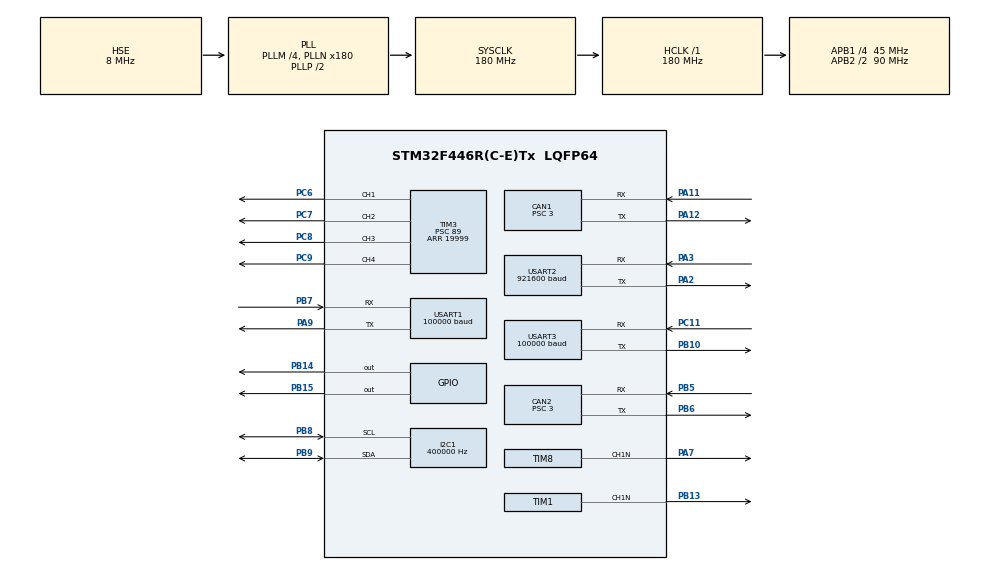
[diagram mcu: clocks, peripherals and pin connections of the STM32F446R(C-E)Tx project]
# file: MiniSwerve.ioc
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CAN1.ABOM=ENABLE
CAN1.BS1=CAN_BS1_12TQ
CAN1.BS2=CAN_BS2_2TQ
CAN1.CalculateBaudRate=1000000
CAN1.CalculateTimeBit=1000
CAN1.CalculateTimeQuantum=66.66666666666666
CAN1.NART=ENABLE
CAN1.Prescaler=3
CAN1.SJW=CAN_SJW_1TQ
CAN2.ABOM=ENABLE
CAN2.BS1=CAN_BS1_12TQ
CAN2.BS2=CAN_BS2_2TQ
CAN2.CalculateBaudRate=1000000
CAN2.CalculateTimeBit=1000
CAN2.CalculateTimeQuantum=66.66666666666666
CAN2.NART=ENABLE
CAN2.Prescaler=3
CAN2.SJW=CAN_SJW_1TQ
Dma.Request0=USART1_RX
Dma.Request1=USART3_RX
Dma.Request2=TIM8_CH1
Dma.TIM8_CH1.2.Direction=DMA_MEMORY_TO_PERIPH
Dma.TIM8_CH1.2.FIFOMode=DMA_FIFOMODE_DISABLE
Dma.TIM8_CH1.2.Instance=DMA2_Stream2
Dma.TIM8_CH1.2.MemDataAlignment=DMA_MDATAALIGN_WORD
Dma.TIM8_CH1.2.MemInc=DMA_MINC_ENABLE
Dma.TIM8_CH1.2.Mode=DMA_CIRCULAR
Dma.TIM8_CH1.2.PeriphDataAlignment=DMA_PDATAALIGN_WORD
Dma.TIM8_CH1.2.PeriphInc=DMA_PINC_DISABLE
Dma.TIM8_CH1.2.Priority=DMA_PRIORITY_LOW
Dma.USART1_RX.0.Direction=DMA_PERIPH_TO_MEMORY
Dma.USART1_RX.0.FIFOMode=DMA_FIFOMODE_DISABLE
Dma.USART1_RX.0.Instance=DMA2_Stream5
Dma.USART1_RX.0.MemDataAlignment=DMA_MDATAALIGN_BYTE
Dma.USART1_RX.0.MemInc=DMA_MINC_ENABLE
Dma.USART1_RX.0.Mode=DMA_CIRCULAR
Dma.USART1_RX.0.PeriphDataAlignment=DMA_PDATAALIGN_BYTE
Dma.USART1_RX.0.PeriphInc=DMA_PINC_DISABLE
Dma.USART1_RX.0.Priority=DMA_PRIORITY_VERY_HIGH
Dma.USART3_RX.1.Direction=DMA_PERIPH_TO_MEMORY
Dma.USART3_RX.1.FIFOMode=DMA_FIFOMODE_DISABLE
Dma.USART3_RX.1.Instance=DMA1_Stream1
Dma.USART3_RX.1.MemDataAlignment=DMA_MDATAALIGN_BYTE
Dma.USART3_RX.1.MemInc=DMA_MINC_ENABLE
Dma.USART3_RX.1.Mode=DMA_CIRCULAR
Dma.USART3_RX.1.PeriphDataAlignment=DMA_PDATAALIGN_BYTE
Dma.USART3_RX.1.PeriphInc=DMA_PINC_DISABLE
Dma.USART3_RX.1.Priority=DMA_PRIORITY_VERY_HIGH
I2C1.ClockSpeed=400000
I2C1.I2C_Mode=I2C_Fast
Mcu.Family=STM32F4
Mcu.Name=STM32F446R(C-E)Tx
Mcu.Package=LQFP64
NVIC.DMA1_Stream1_IRQn=true\:0\:0\:false\:false\:true\:false\:true\:true
NVIC.DMA2_Stream2_IRQn=true\:0\:0\:false\:false\:true\:false\:true\:true
NVIC.DMA2_Stream5_IRQn=true\:0\:0\:false\:false\:true\:false\:true\:true
NVIC.PriorityGroup=NVIC_PRIORITYGROUP_4
NVIC.TIM1_UP_TIM10_IRQn=true\:0\:0\:false\:false\:true\:true\:true\:true
NVIC.USART2_IRQn=true\:0\:0\:false\:false\:true\:true\:true\:true
PA11.Mode=CAN_Activate
PA11.Signal=CAN1_RX
PA12.Mode=CAN_Activate
PA12.Signal=CAN1_TX
PA2.Mode=Asynchronous
PA2.Signal=USART2_TX
PA3.Mode=Asynchronous
PA3.Signal=USART2_RX
PA7.Mode=PWM Generation1 CH1N
PA7.Signal=TIM8_CH1N
PA9.Mode=Asynchronous
PA9.Signal=USART1_TX
PB10.Mode=Asynchronous
PB10.Signal=USART3_TX
PB13.Mode=PWM Generation1 CH1N
PB13.Signal=TIM1_CH1N
PB14.Signal=GPIO_Output
PB15.Signal=GPIO_Output
PB5.Mode=CAN_Activate
PB5.Signal=CAN2_RX
PB6.Mode=CAN_Activate
PB6.Signal=CAN2_TX
PB7.Mode=Asynchronous
PB7.Signal=USART1_RX
PB8.Mode=I2C
PB8.Signal=I2C1_SCL
PB9.Mode=I2C
PB9.Signal=I2C1_SDA
PC11.Mode=Asynchronous
PC11.Signal=USART3_RX
PC6.Signal=S_TIM3_CH1
PC7.Signal=S_TIM3_CH2
PC8.Signal=S_TIM3_CH3
PC9.Signal=S_TIM3_CH4
PH0-OSC_IN.Mode=HSE-External-Oscillator
PH0-OSC_IN.Signal=RCC_OSC_IN
PH1-OSC_OUT.Mode=HSE-External-Oscillator
PH1-OSC_OUT.Signal=RCC_OSC_OUT
ProjectManager.HeapSize=0x200
ProjectManager.StackSize=0x400
ProjectManager.TargetToolchain=STM32CubeIDE
RCC.AHBFreq_Value=180000000
RCC.APB1CLKDivider=RCC_HCLK_DIV4
RCC.APB1Freq_Value=45000000
RCC.APB1TimFreq_Value=90000000
RCC.APB2CLKDivider=RCC_HCLK_DIV2
RCC.APB2Freq_Value=90000000
RCC.APB2TimFreq_Value=180000000
RCC.CortexFreq_Value=180000000
RCC.HCLKFreq_Value=180000000
RCC.HSE_VALUE=8000000
RCC.PLLM=4
RCC.PLLN=180
RCC.PLLSourceVirtual=RCC_PLLSOURCE_HSE
RCC.SYSCLKFreq_VALUE=180000000
RCC.SYSCLKSource=RCC_SYSCLKSOURCE_PLLCLK
RCC.USBFreq_Value=180000000
RCC.VCOOutputFreq_Value=360000000
SH.S_TIM3_CH1.0=TIM3_CH1,PWM Generation1 CH1
SH.S_TIM3_CH2.0=TIM3_CH2,PWM Generation2 CH2
SH.S_TIM3_CH3.0=TIM3_CH3,PWM Generation3 CH3
SH.S_TIM3_CH4.0=TIM3_CH4,PWM Generation4 CH4
TIM1.AutoReloadPreload=TIM_AUTORELOAD_PRELOAD_ENABLE
TIM1.Channel-PWM\ Generation1\ CH1N=TIM_CHANNEL_1
TIM1.CounterMode=TIM_COUNTERMODE_CENTERALIGNED1
TIM1.Period=50000
TIM1.Prescaler=5
TIM1.RepetitionCounter=1
TIM3.Channel-PWM\ Generation1\ CH1=TIM_CHANNEL_1
TIM3.Channel-PWM\ Generation2\ CH2=TIM_CHANNEL_2
TIM3.Channel-PWM\ Generation3\ CH3=TIM_CHANNEL_3
TIM3.Channel-PWM\ Generation4\ CH4=TIM_CHANNEL_4
TIM3.Period=19999
TIM3.Prescaler=89
TIM8.AutoReloadPreload=TIM_AUTORELOAD_PRELOAD_ENABLE
TIM8.Channel-PWM\ Generation1\ CH1N=TIM_CHANNEL_1
TIM8.OCNPolarity_1=TIM_OCNPOLARITY_LOW
TIM8.Period=224
USART1.BaudRate=100000
USART1.VirtualMode=VM_ASYNC
USART2.BaudRate=921600
USART2.VirtualMode=VM_ASYNC
USART3.BaudRate=100000
USART3.VirtualMode=VM_ASYNC
VP_TIM3_VS_ClockSourceINT.Mode=Internal
VP_TIM8_VS_ClockSourceINT.Mode=Internal
board=custom

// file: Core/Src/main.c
/* USER CODE BEGIN Header */
/**
  ******************************************************************************
  * @file           : main.c
  * @brief          : Main program body
  ******************************************************************************
  * @attention
  *
  * Copyright (c) 2023 STMicroelectronics.
  * All rights reserved.
  *
  * This software is licensed under terms that can be found in the LICENSE file
  * in the root directory of this software component.
  * If no LICENSE file comes with this software, it is provided AS-IS.
  *
  ******************************************************************************
  */
/* USER CODE END Header */
#include "main.h"
#include "can.h"
#include "dma.h"
#include "i2c.h"
#include "tim.h"
#include "usart.h"
#include "gpio.h"

/* USER CODE BEGIN Includes */
#include "constants.h"
#include "structs.h"
#include <string.h>
#include <stdio.h>
#include "bno055_stm32.h"
#include "bno055.h"
#include "LED.h"
#include "motor_message.h"

/* USER CODE END Includes */

/* USER CODE BEGIN PV */
CANRxMessage can1_rx, can2_rx;
CANTxMessage FL_P_MSG,FL_W_MSG,FR_P_MSG,FR_W_MSG,BL_P_MSG,BL_W_MSG,BR_P_MSG,BR_W_MSG;
Robot_Struct robot;

LED_Struct leds;

uint8_t Serial2RxBuffer[1];
uint8_t sbus_rxbuffer[50];
uint8_t sbus2_rxbuffer[50];

uint32_t TxMailbox1, TxMailbox2;

/* USER CODE END PV */

void SystemClock_Config(void);

int main(void)
{

  /* MCU Configuration--------------------------------------------------------*/

  /* Reset of all peripherals, Initializes the Flash interface and the Systick. */
  HAL_Init();

  /* Configure the system clock */
  SystemClock_Config();

  /* Initialize all configured peripherals */
  MX_GPIO_Init();
  MX_DMA_Init();
  MX_CAN2_Init();
  MX_I2C1_Init();
  MX_USART1_UART_Init();
  MX_USART2_UART_Init();
  MX_TIM1_Init();
  MX_CAN1_Init();
  MX_TIM8_Init();
  MX_USART3_UART_Init();
  MX_TIM3_Init();
  /* USER CODE BEGIN 2 */
	printf("Swerve\r\n");

	uint32_t reset_cause = RCC->CSR;
	if (reset_cause & RCC_CSR_BORRSTF) {
	  printf("Reset cause: Brown-out reset\r\n");
	}
	else{
		printf("Power cycle please\r\n");
		while(1){
			//Force user to power cycle after reflashing firmware
		}
	}
    // Clear the reset flags after reading them
    __HAL_RCC_CLEAR_RESET_FLAGS();

	can_rx_init(&can1_rx, &CAN_H1);
	can_rx_init(&can2_rx, &CAN_H2);

	can_tx_init(&FL_P_MSG,FL_P_ID);
	can_tx_init(&FL_W_MSG,FL_W_ID);
	can_tx_init(&FR_P_MSG,FR_P_ID);
	can_tx_init(&FR_W_MSG,FR_W_ID);
	can_tx_init(&BL_P_MSG,BL_P_ID);
	can_tx_init(&BL_W_MSG,BL_W_ID);
	can_tx_init(&BR_P_MSG,BR_P_ID);
	can_tx_init(&BR_W_MSG,BR_W_ID);

	HAL_CAN_Start(&CAN_H1); //start CAN
	HAL_CAN_Start(&CAN_H2); //start CAN

	HAL_UART_Receive_IT(&huart2, (uint8_t *)Serial2RxBuffer, 1); //Serial via STLink

	HAL_UART_Receive_DMA(&huart1, sbus_rxbuffer, SBUS_BUF_LEN);
	HAL_UART_Receive_DMA(&huart3, sbus2_rxbuffer, SBUS_BUF_LEN);

	//Loop timing
	HAL_TIM_PWM_Start(&htim1, TIM_CHANNEL_1);
	HAL_TIMEx_PWMN_Start(&htim1, TIM_CHANNEL_1);
	HAL_TIM_Base_Start_IT(&htim1);
	__HAL_TIM_SET_COMPARE(&htim1, TIM_CHANNEL_1, ((htim1.Instance->ARR))*0.5f);

	//3.3V Aux PA7
	LED_Init(&leds);
	HAL_TIM_PWM_Start_DMA(&htim8, TIM_CHANNEL_1, leds.fData, sizeof(leds.fData) / sizeof(uint32_t));
	HAL_TIMEx_PWMN_Start(&htim8, TIM_CHANNEL_1);

	//RC PWM 5V Aux
	HAL_TIM_PWM_Start(&htim3, PC6_PWM); //PC6
	HAL_TIM_PWM_Start(&htim3, PC7_PWM); //PC7
	HAL_TIM_PWM_Start(&htim3, PC8_PWM); //PC8
	HAL_TIM_PWM_Start(&htim3, PC9_PWM); //PC9

	//Zero Robot Commands
	robot.xVel = 0.0;
	robot.yVel = 0.0;
	robot.yawVel = 0.0;
	robot.lastBRAngle = 0.0;
	robot.lastBLAngle = 0.0;
	robot.lastFRAngle = 0.0;
	robot.lastFLAngle = 0.0;

	memset(&robot.FL_P_CTRL, 0, sizeof(robot.FL_P_CTRL));
	memset(&robot.FR_P_CTRL, 0, sizeof(robot.FR_P_CTRL));
	memset(&robot.BL_P_CTRL, 0, sizeof(robot.BL_P_CTRL));
	memset(&robot.BR_P_CTRL, 0, sizeof(robot.BR_P_CTRL));
	memset(&robot.FL_W_CTRL, 0, sizeof(robot.FL_W_CTRL));
	memset(&robot.FR_W_CTRL, 0, sizeof(robot.FR_W_CTRL));
	memset(&robot.BL_W_CTRL, 0, sizeof(robot.BL_W_CTRL));
	memset(&robot.BR_W_CTRL, 0, sizeof(robot.BR_W_CTRL));

	robot.FL_W_PWM.min = PWM_MIN;
	robot.FL_W_PWM.max = PWM_MAX;
	robot.FL_W_PWM.microseconds = PWM_ZERO;
	robot.FR_W_PWM.min = PWM_MIN;
	robot.FR_W_PWM.max = PWM_MAX;
	robot.FR_W_PWM.microseconds = PWM_ZERO;
	robot.BL_W_PWM.min = PWM_MIN;
	robot.BL_W_PWM.max = PWM_MAX;
	robot.BL_W_PWM.microseconds = PWM_ZERO;
	robot.BR_W_PWM.min = PWM_MIN;
	robot.BR_W_PWM.max = PWM_MAX;
	robot.BR_W_PWM.microseconds = PWM_ZERO;

	bno055_assignI2C(&hi2c1);
	bno055_setup();
	bno055_setOperationModeNDOF();

  /* USER CODE END 2 */

  /* Infinite loop */
  /* USER CODE BEGIN WHILE */
  while (1)
  {
	  HAL_Delay(2);
	  if(robot.sendCounter==1){
		bno055_vector_t e = bno055_getVectorEuler();
		bno055_vector_t g = bno055_getVectorGyroscope();
		robot.yaw = e.x;
		robot.roll = e.z;
		robot.pitch = -e.y;
		robot.yaw_vel = (0.1f*-g.z)+0.9f*robot.yaw_vel; //low pass
		robot.roll_vel = -g.x;
		robot.pitch_vel = g.y;
		robot.sendCounter = 0;
	  }
	  if(resetBlink == 1){
		  resetBlink = 0;
		  HAL_GPIO_WritePin(GPIOB, GPIO_PIN_14, GPIO_PIN_SET );
		  HAL_Delay(10);
		  HAL_GPIO_WritePin(GPIOB, GPIO_PIN_14, GPIO_PIN_RESET );
	  }

	  switch(robot.radio_rx.right_select){
	  	  case(2):
	  			  leds.isBlue = 1;
	  	  	  	  leds.isRed = 0;
	  	  	  	  break;
	  	  case(1):
	  			  leds.isBlue = 0;
	  	  	  	  leds.isRed = 1;
	  	  	  	  break;
	  	  case(0):
	  			  leds.isBlue = 0;
	  	  	  	  leds.isRed = 0;
	  	  	  	  break;
	  }
	  if(leds.isBlue){
		  if(robot.is_headless){
			  LED_ShowRobotOrientation(&leds,-(robot.yaw-robot.headlessAngle),0,0,255);
		  }
		  else{
			  LED_ShowRobotOrientation(&leds,0.0,0,0,255);
		  }
	  }
	  else if(leds.isRed){
		  if(robot.is_headless){
			  LED_ShowRobotOrientation(&leds,-(robot.yaw-robot.headlessAngle),255,0,0);
		  }
		  else{
			  LED_ShowRobotOrientation(&leds,0.0,255,0,0);
		  }
	  }
	  else{
		  LED_RainbowRoll(&leds, leds.rainbowOffset);
		  leds.rainbowOffset += 1;
	  }
    /* USER CODE END WHILE */

  }
}

void SystemClock_Config(void)
{
  RCC_OscInitTypeDef RCC_OscInitStruct = {0};
  RCC_ClkInitTypeDef RCC_ClkInitStruct = {0};

  /** Configure the main internal regulator output voltage
  */
  __HAL_RCC_PWR_CLK_ENABLE();
  __HAL_PWR_VOLTAGESCALING_CONFIG(PWR_REGULATOR_VOLTAGE_SCALE1);

  /** Initializes the RCC Oscillators according to the specified parameters
  * in the RCC_OscInitTypeDef structure.
  */
  RCC_OscInitStruct.OscillatorType = RCC_OSCILLATORTYPE_HSE;
  RCC_OscInitStruct.HSEState = RCC_HSE_ON;
  RCC_OscInitStruct.PLL.PLLState = RCC_PLL_ON;
  RCC_OscInitStruct.PLL.PLLSource = RCC_PLLSOURCE_HSE;
  RCC_OscInitStruct.PLL.PLLM = 4;
  RCC_OscInitStruct.PLL.PLLN = 180;
  RCC_OscInitStruct.PLL.PLLP = RCC_PLLP_DIV2;
  RCC_OscInitStruct.PLL.PLLQ = 2;
  RCC_OscInitStruct.PLL.PLLR = 2;
  if (HAL_RCC_OscConfig(&RCC_OscInitStruct) != HAL_OK)
  {
    Error_Handler();
  }

  /** Activate the Over-Drive mode
  */
  if (HAL_PWREx_EnableOverDrive() != HAL_OK)
  {
    Error_Handler();
  }

  /** Initializes the CPU, AHB and APB buses clocks
  */
  RCC_ClkInitStruct.ClockType = RCC_CLOCKTYPE_HCLK|RCC_CLOCKTYPE_SYSCLK
                              |RCC_CLOCKTYPE_PCLK1|RCC_CLOCKTYPE_PCLK2;
  RCC_ClkInitStruct.SYSCLKSource = RCC_SYSCLKSOURCE_PLLCLK;
  RCC_ClkInitStruct.AHBCLKDivider = RCC_SYSCLK_DIV1;
  RCC_ClkInitStruct.APB1CLKDivider = RCC_HCLK_DIV4;
  RCC_ClkInitStruct.APB2CLKDivider = RCC_HCLK_DIV2;

  if (HAL_RCC_ClockConfig(&RCC_ClkInitStruct, FLASH_LATENCY_5) != HAL_OK)
  {
    Error_Handler();
  }
}

void Error_Handler(void)
{
  __disable_irq();
  while (1)
  {
  }
}
